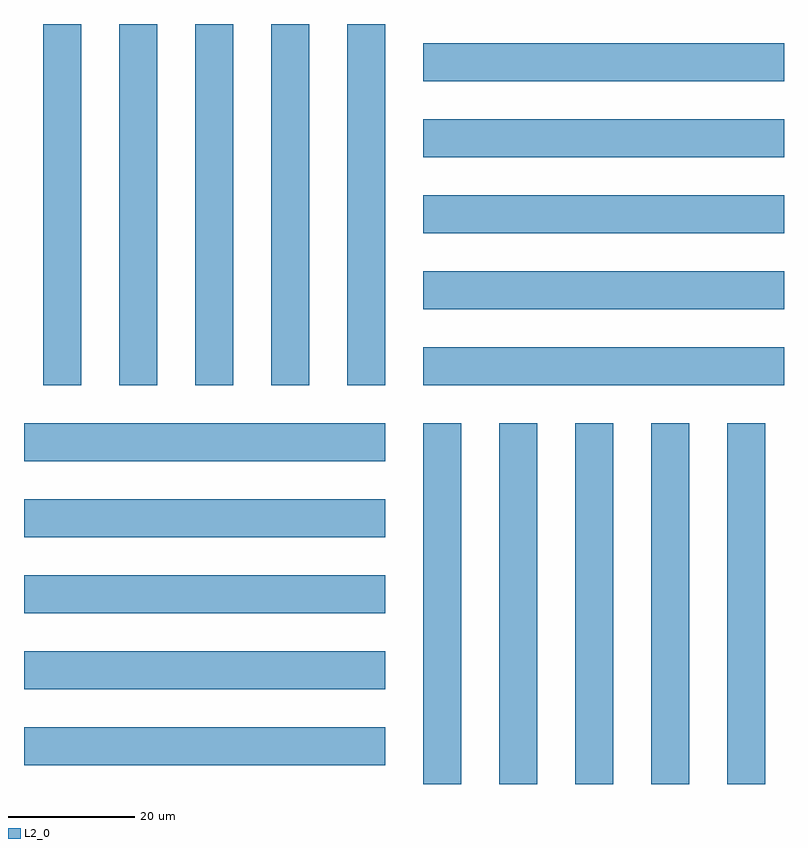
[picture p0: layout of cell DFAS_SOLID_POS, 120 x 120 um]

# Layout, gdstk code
import gdstk
lib = gdstk.Library(unit=1e-6, precision=1e-09)
def R(c, l, rs):  # rectangles x0, y0, x1, y1
    for r in rs: c.add(gdstk.rectangle(r[:2], r[2:], *l))
def A(c, l, x, y, w, h, nx, ny, dx, dy):  # array of equal rectangles
    R(c, l, [(x+i*dx, y+j*dy, x+i*dx+w, y+j*dy+h) for i in range(nx) for j in range(ny)])
L2_0 = (2, 0)

dfas_solid_pos = lib.new_cell('DFAS_SOLID_POS')
A(dfas_solid_pos, L2_0, 3, -60, 6, 57, 5, 1, 12, 0)
A(dfas_solid_pos, L2_0, -60, -57, 57, 6, 1, 5, 0, 12)
A(dfas_solid_pos, L2_0, -57, 3, 6, 57, 5, 1, 12, 0)
A(dfas_solid_pos, L2_0, 3, 3, 57, 6, 1, 5, 0, 12)

lib.write_gds('DFAS_SOLID_POS.gds')
